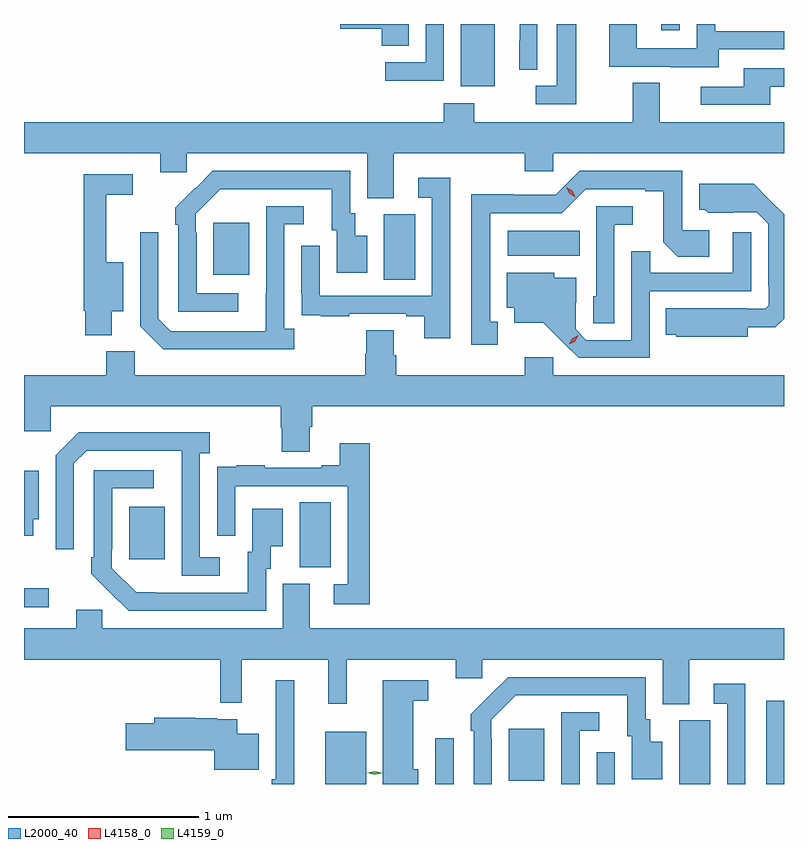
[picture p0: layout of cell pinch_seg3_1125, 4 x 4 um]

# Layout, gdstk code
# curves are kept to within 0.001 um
import gdstk
lib = gdstk.Library(unit=1e-6, precision=1e-09)
def R(c, l, rs):  # rectangles x0, y0, x1, y1
    for r in rs: c.add(gdstk.rectangle(r[:2], r[2:], *l))
def P(c, l, *ps):  # polygons
    for p in ps: c.add(gdstk.Polygon(p, *l))
L2000_40 = (2000, 40)
L4158_0 = (4158, 0)
L4159_0 = (4159, 0)

pinch_seg3_1125 = lib.new_cell('pinch_seg3_1125')
R(pinch_seg3_1125, L2000_40, [(322.895,717.577,323.11,717.853), (323.475,717.577,323.571,717.817), (324.324,717.577,324.42,717.745), (324.758,717.577,324.922,717.912), (325.217,717.577,325.31,718.016), (323.861,717.593,324.049,717.868), (321.31,718.506,321.439,718.607), (322.76,718.717,322.924,719.06), (321.863,718.761,322.051,719.035), (323.204,720.232,323.368,720.576), (322.307,720.257,322.495,720.532), (323.856,720.356,324.236,720.49), (323.609,721.25,323.788,721.577), (324.665,721.545,324.762,721.577)])
P(pinch_seg3_1125, L2000_40, [(324.967,721.443),(325.31,721.443),(325.31,721.539),(324.948,721.539),(324.948,721.577),(324.852,721.577),(324.852,721.449),(324.534,721.449),(324.534,721.577),(324.389,721.577),(324.389,721.353),(324.713,721.353),(324.713,721.349),(324.967,721.349)],
  [(323.335,721.577),(322.974,721.577),(322.974,721.553),(323.192,721.553),(323.192,721.462),(323.335,721.462)],
  [(324.012,721.577),(323.918,721.577),(323.918,721.49),(323.916,721.49),(323.916,721.336),(324.012,721.336)],
  [(323.52,721.577),(323.424,721.577),(323.424,721.377),(323.211,721.377),(323.211,721.279),(323.52,721.279)],
  [(324.217,721.577),(324.113,721.577),(324.113,721.251),(324.003,721.251),(324.003,721.155),(324.217,721.155)],
  [(325.237,721.248),(325.31,721.248),(325.31,721.344),(325.097,721.344),(325.097,721.248),(324.873,721.248),(324.873,721.152),(325.237,721.152)],
  [(323.257,720.896),(323.945,720.896),(323.945,720.803),(324.096,720.803),(324.096,720.896),(325.31,720.896),(325.31,721.06),(324.655,721.06),(324.655,721.268),(324.515,721.268),(324.515,721.06),(323.679,721.06),(323.679,721.159),(323.519,721.159),(323.519,721.06),(321.31,721.06),(321.31,720.896),(322.028,720.896),(322.028,720.798),(322.167,720.798),(322.167,720.896),(323.117,720.896),(323.117,720.661),(323.257,720.661)],
  [(322.438,720.159),(322.218,720.159),(322.218,720.479),(322.215,720.479),(322.215,720.579),(322.344,720.708),(322.931,720.708),(322.931,720.492),(322.955,720.492),(322.955,720.267),(323.116,720.267),(323.116,720.463),(323.053,720.463),(323.053,720.582),(323.028,720.582),(323.028,720.804),(322.304,720.804),(322.107,720.609),(322.107,720.521),(322.122,720.521),(322.122,720.063),(322.438,720.063)],
  [(323.803,720.009),(323.764,720.009),(323.764,720.582),(324.141,720.582),(324.267,720.708),(324.581,720.708),(324.581,720.696),(324.675,720.696),(324.675,720.428),(324.751,720.352),(324.916,720.352),(324.916,720.492),(324.774,720.492),(324.774,720.804),(324.234,720.804),(324.108,720.678),(323.886,720.678),(323.886,720.68),(323.663,720.68),(323.663,719.889),(323.803,719.889)],
  [(321.772,720.065),(321.832,720.065),(321.832,720.322),(321.743,720.322),(321.743,720.678),(321.883,720.678),(321.883,720.786),(321.625,720.786),(321.625,720.069),(321.632,720.069),(321.632,719.939),(321.772,719.939)],
  [(323.553,720.769),(323.385,720.769),(323.385,720.663),(323.457,720.663),(323.457,720.147),(322.866,720.147),(322.866,720.409),(322.77,720.409),(322.77,720.154),(322.771,720.154),(322.771,720.045),(322.873,720.045),(322.873,720.039),(323.021,720.039),(323.021,720.051),(323.321,720.051),(323.321,720.039),(323.417,720.039),(323.417,719.922),(323.553,719.922)],
  [(325.12,719.981),(325.264,719.981),(325.31,720.027),(325.31,720.575),(325.151,720.736),(324.863,720.736),(324.863,720.6),(324.894,720.6),(324.91,720.584),(325.167,720.585),(325.227,720.525),(325.227,720.196),(325.23,720.196),(325.23,720.096),(325.212,720.078),(325.112,720.078),(325.112,720.082),(324.688,720.082),(324.688,719.942),(324.744,719.942),(324.744,719.93),(325.12,719.93)],
  [(322.732,719.974),(322.68,719.974),(322.68,720.522),(322.783,720.522),(322.783,720.618),(322.584,720.618),(322.583,719.961),(322.083,719.961),(322.017,720.027),(322.017,720.481),(321.921,720.481),(321.921,719.985),(322.042,719.864),(322.732,719.864)],
  [(324.417,720.521),(324.514,720.521),(324.514,720.618),(324.321,720.618),(324.321,720.144),(324.306,720.144),(324.306,720.001),(324.417,720.001)],
  [(324.603,720.171),(325.137,720.171),(325.137,720.481),(325.041,720.481),(325.041,720.267),(324.605,720.267),(324.605,720.38),(324.507,720.38),(324.507,719.913),(324.27,719.913),(324.213,719.97),(324.213,720.112),(324.217,720.112),(324.217,720.241),(324.102,720.241),(324.102,720.268),(323.852,720.268),(323.852,720.084),(323.891,720.084),(323.891,720.005),(324.043,720.005),(324.23,719.82),(324.603,719.82)],
  [(322.813,719.458),(322.826,719.458),(322.826,719.564),(325.31,719.564),(325.31,719.728),(324.096,719.728),(324.096,719.824),(323.945,719.824),(323.945,719.728),(323.27,719.728),(323.27,719.834),(323.257,719.834),(323.257,719.966),(323.11,719.966),(323.11,719.841),(323.105,719.841),(323.105,719.728),(321.894,719.728),(321.894,719.854),(321.743,719.854),(321.743,719.728),(321.31,719.728),(321.31,719.564),(321.311,719.564),(321.311,719.433),(321.45,719.433),(321.45,719.564),(322.661,719.564),(322.661,719.451),(322.666,719.451),(322.666,719.326),(322.813,719.326)],
  [(322.339,718.77),(322.236,718.77),(322.236,719.318),(322.288,719.318),(322.288,719.428),(321.598,719.428),(321.477,719.307),(321.477,718.812),(321.573,718.812),(321.573,719.265),(321.639,719.331),(322.139,719.331),(322.14,718.674),(322.339,718.674)],
  [(323.129,719.371),(322.973,719.371),(322.973,719.254),(322.877,719.254),(322.877,719.241),(322.577,719.241),(322.577,719.254),(322.429,719.254),(322.429,719.247),(322.327,719.247),(322.327,719.138),(322.326,719.138),(322.326,718.884),(322.422,718.884),(322.422,719.145),(323.013,719.145),(323.013,718.629),(322.941,718.629),(322.941,718.524),(323.129,718.524)],
  [(322.584,718.71),(322.609,718.71),(322.609,718.829),(322.672,718.829),(322.672,719.026),(322.511,719.026),(322.511,718.8),(322.487,718.8),(322.487,718.584),(321.9,718.585),(321.771,718.713),(321.771,718.813),(321.774,718.813),(321.774,719.133),(321.994,719.133),(321.994,719.229),(321.678,719.229),(321.678,718.771),(321.663,718.771),(321.663,718.683),(321.86,718.488),(322.584,718.488)],
  [(321.358,718.97),(321.388,718.97),(321.388,719.227),(321.31,719.227),(321.31,718.883),(321.358,718.883)],
  [(322.343,718.004),(322.457,718.004),(322.457,718.232),(322.91,718.232),(322.91,717.999),(323.009,717.999),(323.009,718.232),(323.582,718.232),(323.582,718.134),(323.721,718.134),(323.721,718.232),(324.671,718.232),(324.671,717.997),(324.811,717.997),(324.811,718.232),(325.31,718.232),(325.31,718.396),(322.813,718.396),(322.813,718.632),(322.673,718.632),(322.673,718.396),(321.723,718.396),(321.723,718.494),(321.584,718.494),(321.584,718.396),(321.31,718.396),(321.31,718.232),(322.343,718.232)],
  [(323.772,717.815),(323.769,717.815),(323.769,717.915),(323.898,718.044),(324.485,718.044),(324.485,717.828),(324.509,717.828),(324.509,717.603),(324.67,717.603),(324.67,717.799),(324.607,717.799),(324.607,717.918),(324.582,717.918),(324.582,718.14),(323.858,718.14),(323.661,717.945),(323.661,717.857),(323.676,717.857),(323.676,717.577),(323.772,717.577)],
  [(322.732,718.123),(322.635,718.123),(322.635,717.601),(322.615,717.601),(322.615,717.577),(322.732,717.577)],
  [(323.386,717.654),(323.359,717.654),(323.359,718.014),(323.437,718.014),(323.437,718.122),(323.198,718.122),(323.198,717.577),(323.386,717.577)],
  [(325.107,718.105),(324.939,718.105),(324.939,717.999),(325.011,717.999),(325.011,717.577),(325.107,717.577)],
  [(324.234,717.858),(324.337,717.858),(324.337,717.954),(324.138,717.954),(324.138,717.577),(324.234,717.577)],
  [(322.546,717.841),(322.432,717.841),(322.432,717.919),(322.328,717.919),(322.328,717.924),(322.214,717.924),(322.214,717.927),(321.995,717.927),(321.995,717.897),(321.846,717.897),(321.846,717.755),(322.31,717.755),(322.31,717.653),(322.546,717.653)])
P(pinch_seg3_1125, L4158_0, [(324.181,719.892),(324.181,719.893),(324.198,719.922),(324.228,719.938),(324.228,719.938),(324.228,719.938),(324.212,719.908),(324.181,719.892)],
  [(324.211,720.666),(324.18,720.685),(324.163,720.718),(324.163,720.718),(324.163,720.718),(324.195,720.699),(324.212,720.667),(324.212,720.666)])
P(pinch_seg3_1125, L4159_0, [(323.154,717.625),(323.116,717.635),(323.116,717.635),(323.116,717.635),(323.155,717.645),(323.193,717.635),(323.193,717.634),(323.193,717.634)])

lib.write_gds('pinch_seg3_1125.gds')
